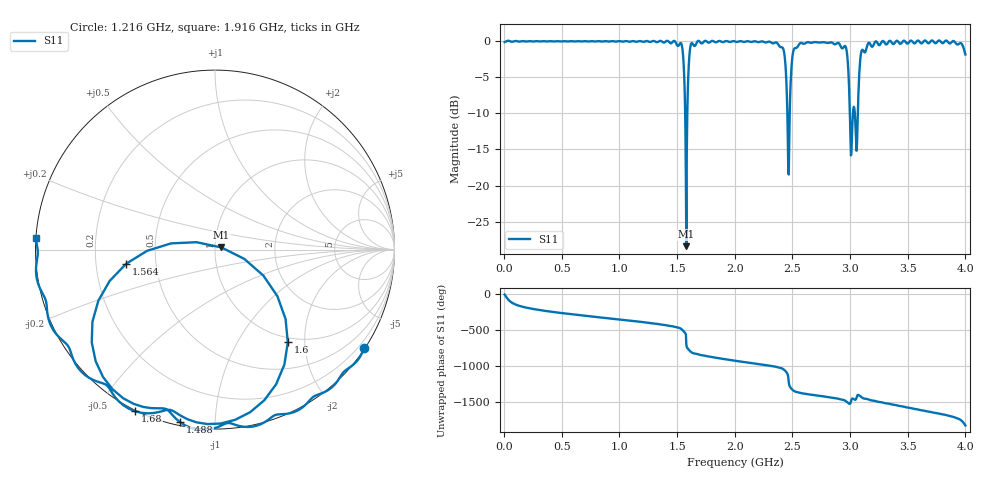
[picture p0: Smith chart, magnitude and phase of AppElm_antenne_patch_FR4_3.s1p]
! TOUCHSTONE file generated by CST MICROWAVE STUDIO
! Date and time: Tue Jun 14 14:10:46 2022
! Project name: AppElm_antenne_patch_FR4.cst
! Parameters = {L=45; W=58.5; e=0.035; h=1.6; lambda=0.190476; ls=120; w0=2.54; w1=0.847; ws=102; y0=18; y1=23.8}
! Header version: 2018
! Port assignment regex: !\s*Touchstone port\s*([0-9]+)\s*=\s*(CST MWS port|CST DS port)\s*([0-9]+|Zmin|Zmax)\s*\(\"(.*)\"\)(\s*mode\s*([0-9]+))?.*
! Touchstone port assignment:
! Touchstone port 1 = CST MWS port 1 ("")
# GHz S MA R 50
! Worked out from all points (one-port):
!   1000 points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, 4 MHz to 4 GHz, reference 50 ohm
!   lowest |S11| = -28.4 dB at 1.58 GHz (marker M1), VSWR 1.08, Z = 53.7 + j1.27 ohm
!   |S11| at or under -10 dB: 2.456 GHz to 2.477 GHz (20.73 MHz wide, 0.841 % of centre); 2.998 GHz to 3.025 GHz (26.75 MHz wide, 0.888 % of centre); 3.041 GHz to 3.067 GHz (26.04 MHz wide, 0.853 % of centre)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
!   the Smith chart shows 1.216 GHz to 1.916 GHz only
!   S11 on the Smith chart (normalised r, x): 1.216 GHz: 0.03, -3.32; 1.488 GHz: 0.02, -0.82; 1.564 GHz: 0.33, -0.07; 1.6 GHz: 0.92, -1.67; 1.68 GHz: -0.00, -0.62; 1.916 GHz: -0.00, +0.03
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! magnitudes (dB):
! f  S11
! 4 MHz  -0.1
! 504 MHz  0.0
! 1.004 GHz  0.0
! 1.216 GHz  0.0
! 1.488 GHz  -0.2
! 1.504 GHz  -0.6
! 1.544 GHz  -0.8
! 1.564 GHz  -6.0
! 1.58 GHz  -28.4
! 1.6 GHz  -3.6
! 1.62 GHz  -0.4
! 1.68 GHz  0.0
! 1.916 GHz  0.0
! 2.004 GHz  0.0
! 2.408 GHz  -0.8
! 2.432 GHz  -2.0
! 2.464 GHz  -18.0
! 2.48 GHz  -7.9
! 2.504 GHz  -1.7
! 2.576 GHz  -0.2
! 2.952 GHz  -0.7
! 2.976 GHz  -2.1
! 3.004 GHz  -13.9
! 3.056 GHz  -15.2
! 3.092 GHz  -2.0
! 3.112 GHz  -1.2
! 3.504 GHz  -0.3
! 4 GHz  -1.8
